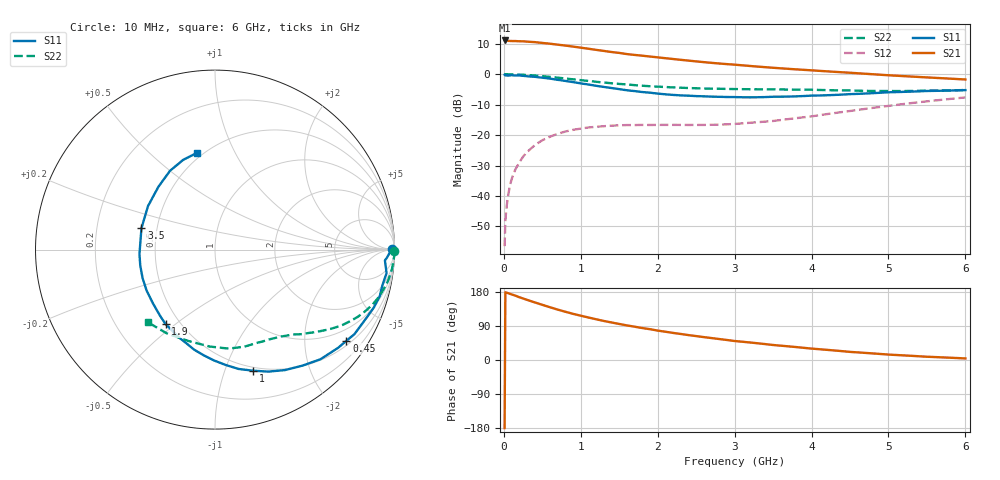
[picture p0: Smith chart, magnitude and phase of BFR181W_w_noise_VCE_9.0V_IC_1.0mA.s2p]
! (c) 2017  Infineon Technologies AG, Munich
! Infineon Technologies  Discrete & RF Semiconductors
! BFR181W
! VCE =  9.0 V,  IC =  1.0 mA
! Common Emitter S-Parameters:  Jan 2017
# GHz  S  MA  R  50
!  f  S11  S21  S12  S22
! GHz  MAG  ANG  MAG  ANG  MAG  ANG  MAG  ANG
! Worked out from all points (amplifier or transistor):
!   77 points, 10 MHz to 6 GHz, reference 50 ohm
!   highest |S21| = 11.1 dB at 10 MHz (marker M1)
!   |S21| within 3 dB of that: start of sweep to 1.175 GHz
!   unconditionally stable (mu >= 1): 2.33 GHz to 4.391 GHz
!   at 130 MHz: K = 0.04, MSG = 21.7 dB, |S12| = -32.5 dB
!   at 2.2 GHz: K = 0.95, MSG = 10.8 dB, |S12| = -16.6 dB
!   at 6 GHz: K = 0.84, MSG = 2.9 dB, |S12| = -7.6 dB
!   lowest NFmin = 0.87 dB at 450 MHz
!   S11 on the Smith chart (normalised r, x): 10 MHz: open; 450 MHz: 0.62, -3.08; 1 GHz: 0.46, -1.26; 1.9 GHz: 0.42, -0.46; 3.5 GHz: 0.41, +0.12; 6 GHz: 0.47, +0.72
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0.01  0.9837 0.1  3.587 -179.6  0.0015 86.0  1 -0.4
0.02  0.9591 -2.7  3.54 178.8  0.0039 93.7  1 -0.7
0.03  0.9556 -3.0  3.539 178.1  0.0056 89.6  1 -1.1
0.06  0.9514 -4.5  3.531 176.1  0.0109 86.1  0.9983 -2.4
0.1  0.9648 -7.8  3.511 173.2  0.0186 86.0  0.9953 -4.0
0.25  0.942 -20.0  3.475 162.3  0.0443 77.2  0.9806 -10.0
0.45  0.8911 -34.8  3.315 148.9  0.075 67.1  0.9413 -17.4
0.6  0.8477 -46.1  3.172 139.2  0.0943 60.7  0.9047 -22.3
0.7  0.8095 -53.0  3.059 133.0  0.1047 56.9  0.8786 -25.3
0.8  0.7765 -59.8  2.958 127.3  0.1147 53.5  0.8513 -28.0
1  0.7075 -72.5  2.731 116.9  0.128 47.1  0.7987 -32.9
1.1  0.6779 -78.8  2.622 112.1  0.1336 44.7  0.7761 -34.9
1.3  0.6181 -90.4  2.414 103.0  0.1401 40.1  0.7309 -38.8
1.5  0.5695 -101.8  2.24 95.1  0.1451 37.3  0.6933 -42.2
1.9  0.4977 -123.6  1.953 81.3  0.1467 34.3  0.6351 -48.4
2.1  0.4676 -133.9  1.833 74.6  0.1472 34.3  0.6164 -51.4
2.6  0.4338 -158.4  1.58 60.4  0.147 37.5  0.5831 -59.3
3.1  0.4187 179.5  1.401 48.2  0.156 44.2  0.5687 -66.8
3.5  0.4268 163.8  1.277 39.6  0.1707 49.9  0.5652 -73.1
4.1  0.4477 143.9  1.137 28.5  0.2122 54.9  0.552 -84.3
5.1  0.5091 117.7  0.946 13.2  0.3131 53.9  0.5295 -109.0
6  0.5485 100.4  0.82 4.1  0.416 46.1  0.5511 -132.6
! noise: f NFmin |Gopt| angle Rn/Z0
0.45  0.87  0.69  18  0.51
0.9  0.95  0.64  36  0.47
1.9  1.56  0.44  83  0.32
2.4  1.81  0.38  99  0.34
